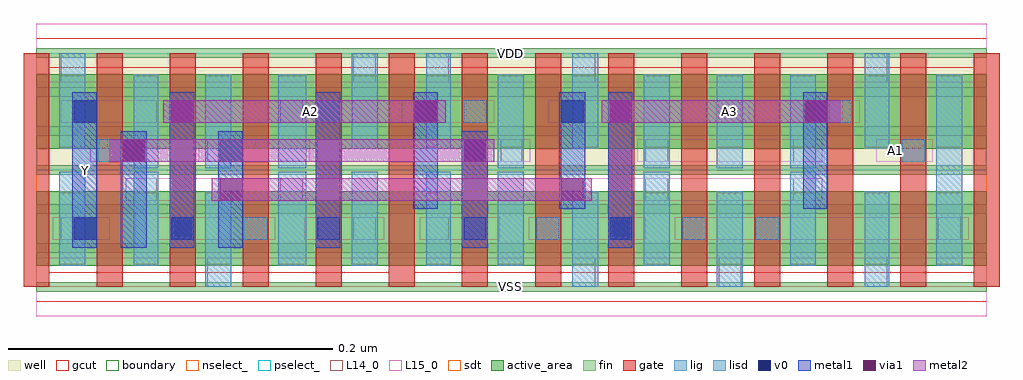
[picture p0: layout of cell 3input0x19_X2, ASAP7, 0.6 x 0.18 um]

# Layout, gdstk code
import gdstk
lib = gdstk.Library(unit=1e-6, precision=1e-09)
def R(c, l, rs):  # rectangles x0, y0, x1, y1
    for r in rs: c.add(gdstk.rectangle(r[:2], r[2:], *l))
def A(c, l, x, y, w, h, nx, ny, dx, dy):  # array of equal rectangles
    R(c, l, [(x+i*dx, y+j*dy, x+i*dx+w, y+j*dy+h) for i in range(nx) for j in range(ny)])
def P(c, l, *ps):  # polygons
    for p in ps: c.add(gdstk.Polygon(p, *l))
well = (1, 0)
fin = (2, 0)
gate = (7, 0)
gcut = (10, 0)
active_area = (11, 0)
nselect_ = (12, 0)
pselect_ = (13, 0)
L14_0 = (14, 0)
L15_0 = (15, 0)
lig = (16, 0)
lisd = (17, 0)
v0 = (18, 0)
metal1 = (19, 0)
metal2 = (20, 0)
via1 = (21, 0)
sdt = (88, 0)
boundary = (100, 0)

c_3input0x19_x2 = lib.new_cell('3input0x19_X2')
R(c_3input0x19_x2, well, [(0,0.072,0.585,0.144)])
A(c_3input0x19_x2, fin, 0, -0.003, 0.585, 0.006, 1, 7, 0, 0.024)
A(c_3input0x19_x2, gate, -0.008, 0, 0.016, 0.144, 14, 1, 0.045, 0)
P(c_3input0x19_x2, gcut, [(0,-0.009),(0,0),(-0.008,0),(-0.008,0.135),(0.008,0.135),(0.008,0.009),(0.217,0.009),(0.217,0.135),(0.233,0.135),(0.233,0.009),(0.577,0.009),(0.577,0.135),(-0.008,0.135),(-0.008,0.144),(0,0.144),(0,0.153),(0.585,0.153),(0.585,0.144),(0.593,0.144),(0.593,0),(0.585,0),(0.585,-0.009)])
R(c_3input0x19_x2, active_area, [(0,0.013,0.585,0.059), (0,0.085,0.585,0.131)])
R(c_3input0x19_x2, nselect_, [(0,0,0.585,0.072)])
R(c_3input0x19_x2, pselect_, [(0,0.072,0.585,0.144)])
A(c_3input0x19_x2, L14_0, 0.33, 0, 0.014, 0.018, 3, 1, 0.09, 0)
A(c_3input0x19_x2, L14_0, 0.308, 0.029, 0.014, 0.014, 4, 1, 0.045, 0)
R(c_3input0x19_x2, L14_0, [(0.105,0,0.12,0.018), (0.015,0.029,0.03,0.043), (0.083,0.029,0.097,0.043), (0.128,0.029,0.142,0.043), (0.195,0.029,0.209,0.043), (0.24,0.029,0.254,0.043), (0.555,0.029,0.569,0.043), (0.06,0.053,0.074,0.067), (0.15,0.053,0.164,0.067), (0.375,0.053,0.389,0.067), (0.466,0.053,0.48,0.067), (0.038,0.077,0.052,0.091), (0.105,0.077,0.12,0.091), (0.173,0.077,0.187,0.091), (0.286,0.077,0.299,0.091), (0.375,0.077,0.389,0.091), (0.466,0.077,0.48,0.091), (0.533,0.077,0.547,0.091), (0.06,0.101,0.074,0.115), (0.15,0.101,0.164,0.115), (0.263,0.101,0.277,0.115), (0.42,0.101,0.434,0.115), (0.488,0.101,0.502,0.115), (0.015,0.126,0.03,0.144), (0.195,0.126,0.209,0.144), (0.24,0.126,0.254,0.144), (0.33,0.126,0.344,0.144), (0.51,0.126,0.524,0.144)])
R(c_3input0x19_x2, L15_0, [(0,-0.018,0.585,0.018), (0.01,0.029,0.045,0.043), (0.075,0.029,0.147,0.043), (0.165,0.029,0.214,0.043), (0.236,0.029,0.285,0.043), (0.303,0.029,0.375,0.043), (0.393,0.029,0.574,0.043), (0.055,0.053,0.484,0.067), (0.033,0.077,0.075,0.091), (0.1,0.077,0.135,0.091), (0.168,0.077,0.304,0.091), (0.37,0.077,0.484,0.091), (0.517,0.077,0.552,0.091), (0.015,0.101,0.195,0.115), (0.225,0.101,0.282,0.115), (0.315,0.101,0.439,0.115), (0.465,0.101,0.507,0.115), (0,0.126,0.585,0.162)])
A(c_3input0x19_x2, lig, 0.308, 0.029, 0.014, 0.014, 4, 1, 0.045, 0)
R(c_3input0x19_x2, lig, [(0.083,0.029,0.097,0.043), (0.128,0.029,0.142,0.043), (0.038,0.077,0.052,0.091), (0.173,0.077,0.187,0.091), (0.533,0.077,0.547,0.091), (0.263,0.101,0.277,0.115), (0.488,0.101,0.502,0.115)])
A(c_3input0x19_x2, lisd, 0.194, 0.013, 0.016, 0.058, 4, 1, 0.09, 0)
A(c_3input0x19_x2, lisd, 0.374, 0.073, 0.016, 0.058, 3, 1, 0.045, 0)
R(c_3input0x19_x2, lisd, [(0.104,0,0.12,0.059), (0.33,0,0.346,0.059), (0.419,0,0.435,0.059), (0.51,0,0.525,0.059), (0.014,0.013,0.03,0.071), (0.06,0.013,0.075,0.071), (0.149,0.013,0.166,0.071), (0.24,0.013,0.255,0.071), (0.554,0.013,0.57,0.131), (0.06,0.073,0.075,0.131), (0.104,0.073,0.12,0.131), (0.149,0.073,0.166,0.131), (0.284,0.073,0.3,0.131), (0.014,0.085,0.03,0.144), (0.194,0.085,0.21,0.144), (0.24,0.085,0.255,0.144), (0.33,0.085,0.346,0.144), (0.51,0.085,0.525,0.144)])
A(c_3input0x19_x2, v0, 0.083, 0.029, 0.014, 0.014, 4, 1, 0.09, 0)
R(c_3input0x19_x2, v0, [(0.023,0.029,0.037,0.043), (0.053,0.077,0.067,0.091), (0.113,0.077,0.127,0.091), (0.263,0.077,0.277,0.091), (0.023,0.101,0.037,0.115), (0.173,0.101,0.187,0.115), (0.233,0.101,0.247,0.115), (0.323,0.101,0.337,0.115), (0.473,0.101,0.487,0.115)])
R(c_3input0x19_x2, metal1, [(0.022,0.024,0.037,0.12), (0.052,0.024,0.068,0.096), (0.082,0.024,0.097,0.12), (0.112,0.024,0.127,0.096), (0.172,0.024,0.187,0.12), (0.262,0.024,0.278,0.096), (0.352,0.024,0.367,0.12), (0.232,0.048,0.247,0.12), (0.322,0.048,0.338,0.12), (0.472,0.048,0.487,0.12)])
R(c_3input0x19_x2, metal2, [(0.108,0.053,0.342,0.067), (0.045,0.077,0.282,0.091), (0.078,0.101,0.252,0.115), (0.348,0.101,0.495,0.115)])
A(c_3input0x19_x2, via1, 0.233, 0.101, 0.014, 0.014, 3, 1, 0.12, 0)
R(c_3input0x19_x2, via1, [(0.113,0.053,0.127,0.067), (0.323,0.053,0.337,0.067), (0.053,0.077,0.067,0.091), (0.263,0.077,0.277,0.091), (0.083,0.101,0.097,0.115)])
A(c_3input0x19_x2, sdt, 0.014, 0.014, 0.016, 0.044, 4, 2, 0.09, 0.072)
A(c_3input0x19_x2, sdt, 0.374, 0.014, 0.016, 0.044, 3, 2, 0.045, 0.072)
R(c_3input0x19_x2, sdt, [(0.06,0.014,0.075,0.058), (0.149,0.014,0.166,0.058), (0.24,0.014,0.255,0.058), (0.33,0.014,0.346,0.058), (0.51,0.014,0.525,0.058), (0.554,0.014,0.57,0.058), (0.06,0.086,0.075,0.13), (0.149,0.086,0.166,0.13), (0.24,0.086,0.255,0.13), (0.33,0.086,0.346,0.13), (0.51,0.086,0.525,0.13), (0.554,0.086,0.57,0.13)])
R(c_3input0x19_x2, boundary, [(0,0,0.585,0.144)])
c_3input0x19_x2.add(gdstk.Label('A1', (0.529,0.084), layer=15, texttype=251))
c_3input0x19_x2.add(gdstk.Label('VSS', (0.292,0), layer=15, texttype=251))
c_3input0x19_x2.add(gdstk.Label('VDD', (0.292,0.144), layer=15, texttype=251))
c_3input0x19_x2.add(gdstk.Label('VSS', (0.292,0), layer=15, texttype=251))
c_3input0x19_x2.add(gdstk.Label('VDD', (0.292,0.144), layer=15, texttype=251))
c_3input0x19_x2.add(gdstk.Label('VSS', (0.292,0), layer=15, texttype=251))
c_3input0x19_x2.add(gdstk.Label('VDD', (0.292,0.144), layer=15, texttype=251))
c_3input0x19_x2.add(gdstk.Label('VSS', (0.292,0), layer=15, texttype=251))
c_3input0x19_x2.add(gdstk.Label('VDD', (0.292,0.144), layer=15, texttype=251))
c_3input0x19_x2.add(gdstk.Label('VSS', (0.292,0), layer=3, texttype=251))
c_3input0x19_x2.add(gdstk.Label('VSS', (0.292,0), layer=3, texttype=251))
c_3input0x19_x2.add(gdstk.Label('VSS', (0.292,0), layer=3, texttype=251))
c_3input0x19_x2.add(gdstk.Label('VSS', (0.292,0), layer=3, texttype=251))
c_3input0x19_x2.add(gdstk.Label('VDD', (0.292,0.144), layer=1, texttype=251))
c_3input0x19_x2.add(gdstk.Label('VDD', (0.292,0.144), layer=1, texttype=251))
c_3input0x19_x2.add(gdstk.Label('VDD', (0.292,0.144), layer=1, texttype=251))
c_3input0x19_x2.add(gdstk.Label('VDD', (0.292,0.144), layer=1, texttype=251))
c_3input0x19_x2.add(gdstk.Label('A2', (0.169,0.108), layer=20, texttype=251))
c_3input0x19_x2.add(gdstk.Label('A3', (0.427,0.108), layer=20, texttype=251))
c_3input0x19_x2.add(gdstk.Label('Y', (0.03,0.072), layer=19, texttype=251))

lib.write_gds('3input0x19_X2.gds')
